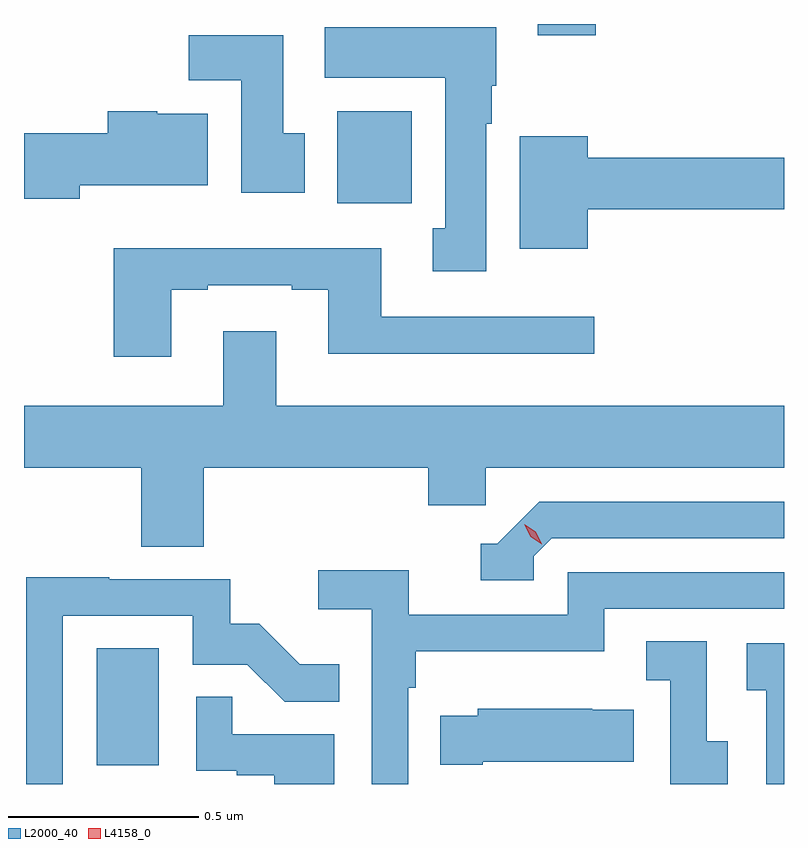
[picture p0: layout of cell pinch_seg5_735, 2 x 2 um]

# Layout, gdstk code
import gdstk
lib = gdstk.Library(unit=1e-6, precision=1e-09)
def R(c, l, rs):  # rectangles x0, y0, x1, y1
    for r in rs: c.add(gdstk.rectangle(r[:2], r[2:], *l))
def P(c, l, *ps):  # polygons
    for p in ps: c.add(gdstk.Polygon(p, *l))
L2000_40 = (2000, 40)
L4158_0 = (4158, 0)

pinch_seg5_735 = lib.new_cell('pinch_seg5_735')
R(pinch_seg5_735, L2000_40, [(1102.826,849.318,1102.99,849.625), (1103.459,850.796,1103.656,851.038), (1103.987,851.238,1104.14,851.268)])
P(pinch_seg5_735, L2000_40, [(1103.851,851.006),(1103.866,851.006),(1103.866,851.106),(1103.878,851.106),(1103.878,851.26),(1103.427,851.26),(1103.427,851.126),(1103.744,851.126),(1103.744,850.73),(1103.711,850.73),(1103.711,850.617),(1103.851,850.617)],
  [(1103.374,850.98),(1103.317,850.98),(1103.317,851.239),(1103.068,851.239),(1103.068,851.12),(1103.207,851.12),(1103.207,850.824),(1103.374,850.824)],
  [(1102.782,850.844),(1103.119,850.844),(1103.119,851.032),(1102.986,851.032),(1102.986,851.038),(1102.856,851.038),(1102.856,850.98),(1102.635,850.98),(1102.635,850.808),(1102.782,850.808)],
  [(1104.118,850.78),(1104.635,850.78),(1104.635,850.916),(1104.118,850.916),(1104.118,850.972),(1103.939,850.972),(1103.939,850.676),(1104.118,850.676)],
  [(1103.023,850.569),(1103.119,850.569),(1103.119,850.581),(1103.339,850.581),(1103.339,850.569),(1103.435,850.569),(1103.435,850.4),(1104.136,850.4),(1104.136,850.497),(1103.575,850.497),(1103.575,850.678),(1102.871,850.678),(1102.871,850.392),(1103.023,850.392)],
  [(1103.108,850.1),(1103.699,850.1),(1103.699,850.002),(1103.85,850.002),(1103.85,850.1),(1104.635,850.1),(1104.635,850.264),(1103.299,850.264),(1103.299,850.459),(1103.159,850.459),(1103.159,850.264),(1102.635,850.264),(1102.635,850.1),(1102.943,850.1),(1102.943,849.892),(1103.108,849.892)],
  [(1103.976,849.867),(1104.024,849.915),(1104.635,849.915),(1104.635,850.011),(1103.991,850.011),(1103.88,849.9),(1103.837,849.9),(1103.837,849.804),(1103.976,849.804)],
  [(1103.646,849.521),(1103.666,849.521),(1103.666,849.617),(1104.162,849.617),(1104.162,849.729),(1104.635,849.729),(1104.635,849.825),(1104.066,849.825),(1104.066,849.714),(1103.648,849.714),(1103.648,849.83),(1103.409,849.83),(1103.409,849.728),(1103.55,849.728),(1103.55,849.268),(1103.646,849.268)],
  [(1102.737,849.711),(1103.079,849.711),(1103.079,849.582),(1103.223,849.582),(1103.321,849.484),(1103.465,849.484),(1103.465,849.583),(1103.361,849.583),(1103.254,849.69),(1103.178,849.69),(1103.178,849.807),(1102.859,849.807),(1102.859,849.812),(1102.641,849.812),(1102.641,849.268),(1102.737,849.268)],
  [(1104.487,849.381),(1104.432,849.381),(1104.432,849.644),(1104.273,849.644),(1104.273,849.541),(1104.336,849.541),(1104.336,849.268),(1104.487,849.268)],
  [(1104.635,849.639),(1104.537,849.639),(1104.537,849.515),(1104.588,849.515),(1104.588,849.268),(1104.635,849.268)],
  [(1103.452,849.399),(1103.183,849.399),(1103.183,849.497),(1103.088,849.497),(1103.088,849.303),(1103.195,849.303),(1103.195,849.291),(1103.294,849.291),(1103.294,849.268),(1103.452,849.268)],
  [(1103.842,849.326),(1104.239,849.326),(1104.239,849.463),(1104.131,849.463),(1104.131,849.466),(1103.829,849.466),(1103.829,849.448),(1103.731,849.448),(1103.731,849.319),(1103.842,849.319)])
P(pinch_seg5_735, L4158_0, [(1103.998,849.899),(1103.968,849.919),(1103.952,849.951),(1103.952,849.952),(1103.952,849.952),(1103.982,849.932),(1103.998,849.9),(1103.998,849.899)])

lib.write_gds('pinch_seg5_735.gds')
